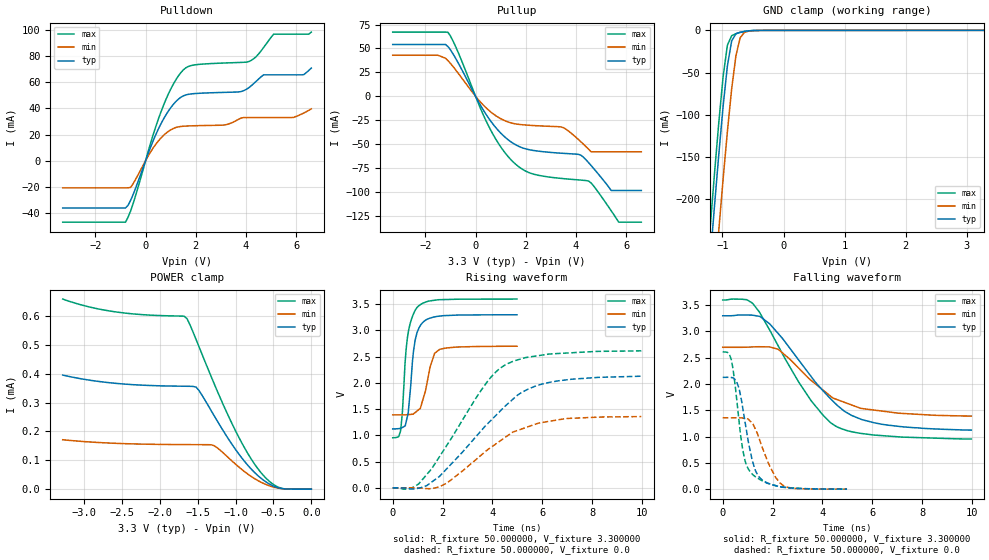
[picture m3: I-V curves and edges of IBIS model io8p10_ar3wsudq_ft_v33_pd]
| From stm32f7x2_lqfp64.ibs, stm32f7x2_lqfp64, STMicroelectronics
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|   Model io8p10_ar3wsudq_ft_v33_pd
[Model]  io8p10_ar3wsudq_ft_v33_pd
Model_type I/O
Polarity   Non-Inverting
Enable   Active-Low
Vinl =   0.990000V
Vinh =   2.310000V
Vmeas =  1.650000V
Cref =   40.000000pF
Rref =   100.000000M
Vref =   0.0V
C_comp   3.857500pF   3.760500pF   3.941700pF
[Temperature Range]   25.000000   0.125000k   -40.000000
[Pullup Reference]   3.300000V   2.700000V   3.600000V
[Pulldown Reference]   0.0V   0.0V   0.0V
[POWER Clamp Reference]   3.300000V   2.700000V   3.600000V
[GND Clamp Reference]   0.0V   0.0V   0.0V
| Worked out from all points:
|   slope of the pulldown table from 0 to 0.495 V, typ, clamps not added: 20.9 ohm
|   slope of the pullup table from 0 to 0.495 V, typ, clamps not added: 22.6 ohm
|   GND clamp passes 1 mA (typ) near -0.62 V on its own axis
|   rising waveform, R_fixture 50.000000, V_fixture 3.300000: 20-80 % time 278ps typ, 400ps min, 275ps max; typ from 1.12 V to 3.3 V
|   rising waveform, R_fixture 50.000000, V_fixture 0.0: 20-80 % time 2.56ns typ, 2.3ns min, 2.13ns max; typ from 0 V to 2.13 V
|   falling waveform, R_fixture 50.000000, V_fixture 3.300000: 20-80 % time 2.28ns typ, 2.11ns min, 2.06ns max; typ from 3.3 V to 1.12 V
|   falling waveform, R_fixture 50.000000, V_fixture 0.0: 20-80 % time 515ps typ, 708ps min, 441ps max; typ from 2.13 V to 0 V
[Pulldown]
|Voltage   I(typ)   I(min)   I(max)
-3.3V     -36.18mA   -20.77mA   -47.07mA
-800mV    -36.18mA   -20.77mA   -47.07mA
-600mV    -30.5mA    -20.52mA   -38.69mA
700mV     31.4mA     19.11mA    41.71mA
1.2V      45.15mA    25.37mA    61.75mA
1.6V      50.35mA    26.5mA     71.06mA
3.1V      52.27mA    27.26mA    74.75mA
4.1V      55.7mA     32.99mA    75.8mA
4.7V      65.71mA    32.99mA    86.63mA
5.1V      65.71mA    32.99mA    96.88mA
6.3V      65.85mA    36.49mA    96.88mA
6.6V      70.9mA     39.7mA     98.44mA
[Pullup]
|Voltage   I(typ)   I(min)   I(max)
-3.3V     54.18mA    42.91mA    67.09mA
-1.5V     54.18mA    42.91mA    67.09mA
-1.1V     51.95mA    37.28mA    66.83mA
500mV     -22.07mA   -14mA      -30.03mA
1.5V      -49.1mA    -28.3mA    -68.56mA
2.2V      -56.04mA   -30.32mA   -80.35mA
3.5V      -59.53mA   -32.72mA   -85.92mA
4.2V      -61.52mA   -47.6mA    -87.46mA
4.5V      -69.21mA   -55.15mA   -88.44mA
5.4V      -98.3mA    -57.9mA    -119.4mA
5.7V      -98.3mA    -57.9mA    -131.4mA
6.6V      -98.3mA    -57.9mA    -131.4mA
[GND_clamp]
|Voltage   I(typ)   I(min)   I(max)
-3.3V     -2.332A    -2.407A    -2.312A
-1.2V     -270.2mA   -361.4mA   -232.1mA
-1.13V    -207.3mA   -298.1mA   -169mA
-1.06V    -146.7mA   -236.2mA   -108.8mA
-990mV    -90.18mA   -176.4mA   -54.97mA
-920mV    -42.21mA   -120mA     -17.69mA
-850mV    -12.58mA   -69.47mA   -6.279mA
-780mV    -3.983mA   -30.01mA   -3.9mA
-710mV    -2.112mA   -8.623mA   -2.396mA
-640mV    -1.159mA   -2.292mA   -1.234mA
-570mV    -535.1uA   -830.5uA   -490.2uA
3.28V     81.28uA    57.87uA    93.98uA
[POWER_clamp]
|Voltage   I(typ)   I(min)   I(max)
-3.28V    395.3uA    171.3uA    658.7uA
-2.6V     367.1uA    159uA      614.9uA
-1.68V    356.7uA    154.4uA    599.4uA
-1.64V    356.5uA    154.4uA    590.8uA
-1.52V    353.6uA    154.3uA    518.3uA
-1.48V    341.1uA    154.2uA    492.3uA
-1.28V    253.6uA    150.4uA    364.2uA
-960mV    123.1uA    77.55uA    181.6uA
-720mV    50.52uA    32.03uA    76.18uA
-560mV    18.94uA    12.27uA    28.65uA
-440mV    5.104uA    3.69uA     7.327uA
0V        0A         0A         0A
[Ramp]
| variable   typ   min   max
dV/dt_r  1.26810/2.56020n   0.81246/2.31714n   1.56504/2.13233n
dV/dt_f  1.28472/2.27343n   0.77808/2.11211n   1.57535/2.06094n
R_load = 50.000000
[Rising Waveform]
R_fixture= 50.000000
V_fixture= 3.300000
V_fixture_min= 2.700000
V_fixture_max= 3.600000
|time   V(typ)   V(min)   V(max)
0s        1.123V     1.391V     953.8mV
320.3ps   1.131V     1.39V      1.098V
390.4ps   1.15V      1.39V      1.454V
510.5ps   1.199V     1.391V     2.476V
690.7ps   1.782V     1.398V     3.113V
840.8ps   2.632V     1.412V     3.325V
991ps     2.977V     1.47V      3.446V
1.682ns   3.258V     2.565V     3.576V
1.882ns   3.273V     2.639V     3.586V
4.985ns   3.299V     2.699V     3.598V
[Rising Waveform]
R_fixture= 50.000000
V_fixture= 0.0
V_fixture_min= 0.0
V_fixture_max= 0.0
|time   V(typ)   V(min)   V(max)
0s        196.3uV    83.65uV    714.9uV
560.6ps   -9.814mV   -61.21uV   -21.7mV
1.041ns   -6.992mV   -4.667mV   73.37mV
1.361ns   40.28mV    -15.48mV   251.5mV
2.182ns   370.6mV    92.42mV    818.3mV
3.804ns   1.221V     725.5mV    2.029V
4.505ns   1.555V     958.8mV    2.34V
5.165ns   1.816V     1.12V      2.46V
6.226ns   2.004V     1.263V     2.547V
9.97ns    2.127V     1.358V     2.611V
[Falling Waveform]
R_fixture= 50.000000
V_fixture= 3.300000
V_fixture_min= 2.700000
V_fixture_max= 3.600000
|time   V(typ)   V(min)   V(max)
0s        3.299V     2.699V     3.598V
961ps     3.313V     2.701V     3.604V
1.201ns   3.309V     2.706V     3.534V
1.502ns   3.282V     2.709V     3.345V
2.222ns   2.962V     2.662V     2.729V
3.524ns   2.157V     2.077V     1.697V
4.525ns   1.627V     1.715V     1.202V
5.185ns   1.4V       1.599V     1.091V
6.386ns   1.234V     1.486V     1.019V
9.97ns    1.123V     1.391V     953.8mV
[Falling Waveform]
R_fixture= 50.000000
V_fixture= 0.0
V_fixture_min= 0.0
V_fixture_max= 0.0
|time   V(typ)   V(min)   V(max)
0s        2.127V     1.358V     2.611V
340.3ps   2.124V     1.357V     2.473V
500.5ps   2.08V      1.357V     1.97V
650.7ps   1.925V     1.357V     1.314V
890.9ps   1.292V     1.346V     549.8mV
1.171ns   575.4mV    1.261V     293.2mV
1.542ns   192.7mV    852mV      171.1mV
2.132ns   64.87mV    216.9mV    66.89mV
2.422ns   39.32mV    72.24mV    35.98mV
4.985ns   196.3uV    83.65uV    714.9uV
